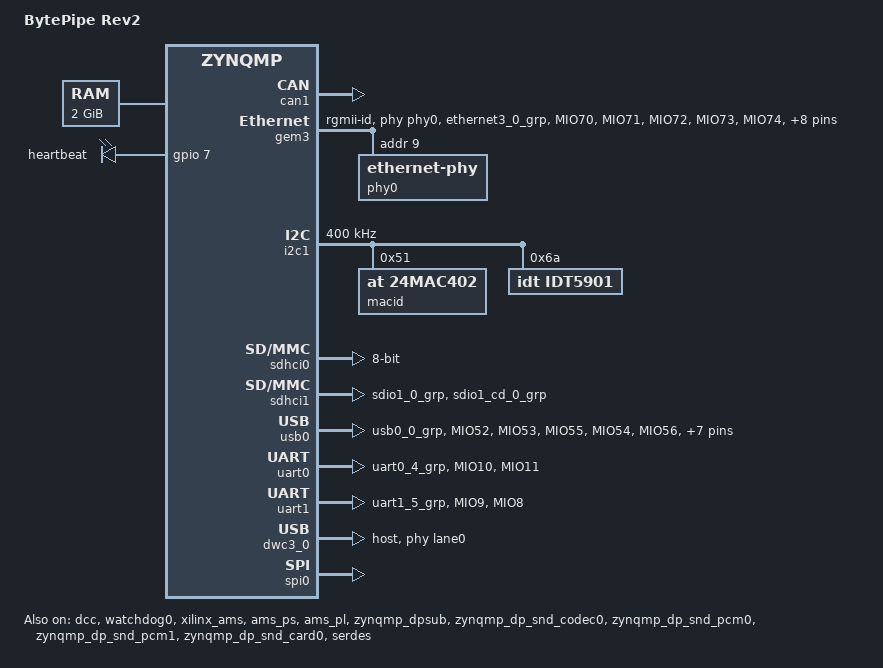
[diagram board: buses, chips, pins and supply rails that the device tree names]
#include "system-conf.dtsi"
#include "zynqmp.dtsi"
#include "zynqmp-clk-ccf.dtsi"
#include <dt-bindings/input/input.h>
#include <dt-bindings/gpio/gpio.h>
#include <dt-bindings/pinctrl/pinctrl-zynqmp.h>
#include <dt-bindings/phy/phy.h>
#include <dt-bindings/interrupt-controller/irq.h>
#include <dt-bindings/gpio/gpio.h>

/ {
	model = "BytePipe Rev2";
	compatible = "xlnx,zynqmp";

	aliases {
		ethernet0 = &gem3;
		gpio0 = &gpio;
		i2c0 = &i2c0;
		i2c1 = &i2c1;
		mmc0 = &sdhci1;
		rtc0 = &rtc;
		serial0 = &uart0;
		serial1 = &uart1;
		serial2 = &dcc;
		usb0 = &usb0;
	};

	chosen {
		bootargs = "earlycon";
		stdout-path = "serial0:115200n8";
	};

	memory@0 {
		device_type = "memory";
		reg = <0x0 0x0 0x0 0x80000000>;
	};


	leds {
		compatible = "gpio-leds";
		heartbeat_led {
			label = "heartbeat";
			gpios = <&gpio 7 GPIO_ACTIVE_HIGH>;
			linux,default-trigger = "heartbeat";
		};
	};
};

&can1 {
	status = "okay";
};

&dcc {
	status = "okay";
};

&fpd_dma_chan1 {
	status = "okay";
};

&fpd_dma_chan2 {
	status = "okay";
};

&fpd_dma_chan3 {
	status = "okay";
};

&fpd_dma_chan4 {
	status = "okay";
};

&fpd_dma_chan5 {
	status = "okay";
};

&fpd_dma_chan6 {
	status = "okay";
};

&fpd_dma_chan7 {
	status = "okay";
};

&fpd_dma_chan8 {
	status = "okay";
};

&gem3 {
	status = "okay";
	phy-handle = <&phy0>;
	phy-mode = "rgmii-id";
	pinctrl-names = "default";
	pinctrl-0 = <&pinctrl_gem3_default>;
	phy0: ethernet-phy@9 {
		reg = <9>;
		ti,rx-internal-delay = <0x8>;
		ti,tx-internal-delay = <0xa>;
		ti,fifo-depth = <0x1>;
		ti,dp83867-rxctrl-strap-quirk;
	};
};

&gpio {
	status = "okay";
	pinctrl-names = "default";
	pinctrl-0 = <&pinctrl_gpio_default>;
};

&i2c1 {
     	status = "okay";
     	clock-frequency = <400000>;
                
	macid: eeprom2@51 { /* IIC_MAC_ID - SOM - U7 */
	     compatible = "at,24mac402";
	     reg = <0x51>;
	};

	idt5901: clock-generator@6a { /* IDT 5P49V5935 clock generator - HDK - U6 */
	     #clock-cells = <0>;
	     compatible = "idt,idt5901";
	     reg = <0x6a>;
	     input-freq = <25000000>;
	     clk-freq = <75000000>;
	     output-num = <4>;
	};
};

&pinctrl0 {
	status = "okay";


	pinctrl_uart0_default: uart0-default {
		mux {
			groups = "uart0_4_grp";
			function = "uart0";
		};

		conf {
			groups = "uart0_4_grp";
			slew-rate = <SLEW_RATE_SLOW>;
			io-standard = <IO_STANDARD_LVCMOS18>;
		};

		conf-rx {
			pins = "MIO10";
			bias-high-impedance;
		};

		conf-tx {
			pins = "MIO11";
			bias-disable;
		};
	};

	pinctrl_uart1_default: uart1-default {
		mux {
			groups = "uart1_5_grp";
			function = "uart1";
		};

		conf {
			groups = "uart1_5_grp";
			slew-rate = <SLEW_RATE_SLOW>;
			io-standard = <IO_STANDARD_LVCMOS18>;
		};

		conf-rx {
			pins = "MIO9";
			bias-high-impedance;
		};

		conf-tx {
			pins = "MIO8";
			bias-disable;
		};
	};

	pinctrl_usb0_default: usb0-default {
		mux {
			groups = "usb0_0_grp";
			function = "usb0";
		};

		conf {
			groups = "usb0_0_grp";
			slew-rate = <SLEW_RATE_SLOW>;
			io-standard = <IO_STANDARD_LVCMOS18>;
		};

		conf-rx {
			pins = "MIO52", "MIO53", "MIO55";
			bias-high-impedance;
		};

		conf-tx {
			pins = "MIO54", "MIO56", "MIO57", "MIO58", "MIO59",
			       "MIO60", "MIO61", "MIO62", "MIO63";
			bias-disable;
		};
	};

	pinctrl_gem3_default: gem3-default {
		mux {
			function = "ethernet3";
			groups = "ethernet3_0_grp";
		};

		conf {
			groups = "ethernet3_0_grp";
			slew-rate = <SLEW_RATE_SLOW>;
			io-standard = <IO_STANDARD_LVCMOS18>;
		};

		conf-rx {
			pins = "MIO70", "MIO71", "MIO72", "MIO73", "MIO74",
									"MIO75";
			bias-high-impedance;
			low-power-disable;
		};

		conf-tx {
			pins = "MIO64", "MIO65", "MIO66", "MIO67", "MIO68",
									"MIO69";
			bias-disable;
			low-power-enable;
		};

		mux-mdio {
			function = "mdio3";
			groups = "mdio3_0_grp";
		};

		conf-mdio {
			groups = "mdio3_0_grp";
			slew-rate = <SLEW_RATE_SLOW>;
			io-standard = <IO_STANDARD_LVCMOS18>;
			bias-disable;
		};
	};

	pinctrl_sdhci1_default: sdhci1-default {
		mux {
			groups = "sdio1_0_grp";
			function = "sdio1";
		};

		conf {
			groups = "sdio1_0_grp";
			slew-rate = <SLEW_RATE_SLOW>;
			io-standard = <IO_STANDARD_LVCMOS33>;
			bias-disable;
		};

		mux-cd {
			groups = "sdio1_cd_0_grp";
			function = "sdio1_cd";
		};

		conf-cd {
			groups = "sdio1_cd_0_grp";
			bias-high-impedance;
			bias-pull-up;
			slew-rate = <SLEW_RATE_SLOW>;
			io-standard = <IO_STANDARD_LVCMOS33>;
		};
	};

	pinctrl_gpio_default: gpio-default {
		mux-sw {
			function = "gpio0";
			groups = "gpio0_7_grp";
		};

		conf-sw {
			groups = "gpio0_7_grp";
			slew-rate = <SLEW_RATE_SLOW>;
			io-standard = <IO_STANDARD_LVCMOS18>;
		};
	};
};

/* SD0 eMMC, 8-bit wide data bus */
&sdhci0 {
	status = "okay";
	bus-width = <8>;
	max-frequency = <50000000>;
};

/* SD1 with level shifter */
&sdhci1 {
	status = "okay";
	max-frequency = <50000000>;
	pinctrl-names = "default";
	pinctrl-0 = <&pinctrl_sdhci1_default>;
	xlnx,mio_bank = <1>;
	no-1-8-v;
};

/* ULPI SMSC USB3320 */
&usb0 {
	status = "okay";
};

&uart0 {
	status = "okay";
	pinctrl-names = "default";
	pinctrl-0 = <&pinctrl_uart0_default>;
};

&uart1 {
	status = "okay";
	pinctrl-names = "default";
	pinctrl-0 = <&pinctrl_uart1_default>;
};

/* ULPI SMSC USB3320 */
&usb0 {
	status = "okay";
	pinctrl-names = "default";
	pinctrl-0 = <&pinctrl_usb0_default>;
};

&dwc3_0 {
	status = "okay";
	dr_mode = "host";
	snps,usb3_lpm_capable;
	phy-names = "usb3-phy";
	phys = <&lane0 PHY_TYPE_USB3 0 0 52000000>;
	maximum-speed = "super-speed";
};


&watchdog0 {
	status = "okay";
};

&xilinx_ams {
	status = "okay";
};

&ams_ps {
	status = "okay";
};

&ams_pl {
	status = "okay";
};

&zynqmp_dpsub {
	status = "okay";
	phy-names = "dp-phy0", "dp-phy1";
	phys = <&lane3 PHY_TYPE_DP 0 2 27000000>, <&lane2 PHY_TYPE_DP 1 2 27000000>;
};

&zynqmp_dp_snd_codec0 {
	status = "okay";
};

&zynqmp_dp_snd_pcm0 {
	status = "okay";
};

&zynqmp_dp_snd_pcm1 {
	status = "okay";
};

&zynqmp_dp_snd_card0 {
	status = "okay";
};

&xlnx_dpdma {
	status = "okay";
};

&serdes {
	status = "okay";
};

&spi0 {
	status = "okay";
};

